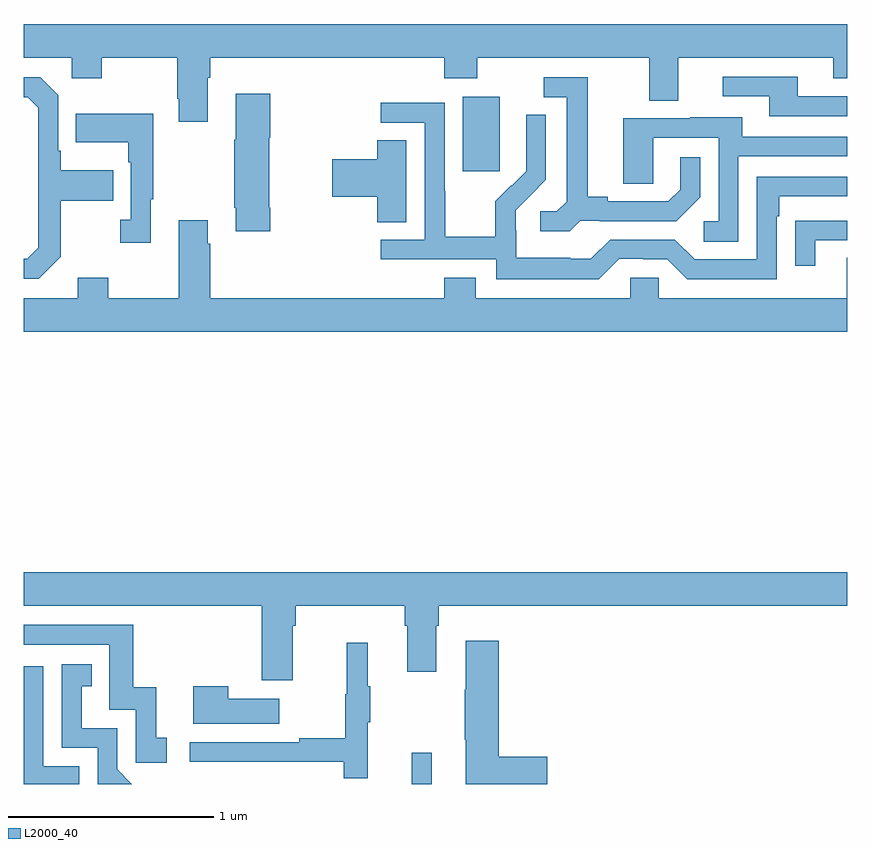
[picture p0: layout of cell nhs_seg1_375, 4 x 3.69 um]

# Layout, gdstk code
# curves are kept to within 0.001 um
import gdstk
lib = gdstk.Library(unit=1e-6, precision=1e-09)
def R(c, l, rs):  # rectangles x0, y0, x1, y1
    for r in rs: c.add(gdstk.rectangle(r[:2], r[2:], *l))
def P(c, l, *ps):  # polygons
    for p in ps: c.add(gdstk.Polygon(p, *l))
L2000_40 = (2000, 40)

nhs_seg1_375 = lib.new_cell('nhs_seg1_375')
R(nhs_seg1_375, L2000_40, [(132.885,552.199,132.982,552.352), (133.133,555.177,133.312,555.538)])
P(nhs_seg1_375, L2000_40, [(131.893,555.632),(131.906,555.632),(131.906,555.728),(133.043,555.728),(133.043,555.629),(133.203,555.629),(133.203,555.728),(134.039,555.728),(134.039,555.52),(134.179,555.52),(134.179,555.728),(134.933,555.728),(134.933,555.629),(135,555.629),(135,555.892),(131,555.892),(131,555.728),(131.232,555.728),(131.232,555.629),(131.379,555.629),(131.379,555.728),(131.746,555.728),(131.746,555.529),(131.753,555.529),(131.753,555.417),(131.893,555.417)],
  [(135,555.54),(134.761,555.54),(134.761,555.636),(134.397,555.636),(134.397,555.54),(134.621,555.54),(134.621,555.444),(135,555.444)],
  [(133.704,554.937),(133.798,554.937),(133.798,554.934),(134.17,554.934),(134.286,555.05),(134.286,555.244),(134.189,555.244),(134.189,555.087),(134.132,555.03),(133.837,555.03),(133.837,555.053),(133.741,555.053),(133.741,555.633),(133.527,555.633),(133.527,555.537),(133.637,555.537),(133.637,555.029),(133.59,554.982),(133.509,554.982),(133.509,554.885),(133.652,554.885)],
  [(131.179,554.761),(131.179,555.034),(131.435,555.034),(131.435,555.181),(131.179,555.181),(131.179,555.277),(131.166,555.277),(131.166,555.546),(131.079,555.633),(131,555.633),(131,555.537),(131.019,555.537),(131.07,555.486),(131.07,554.805),(131.016,554.751),(131,554.751),(131,554.655),(131.073,554.655)],
  [(132.197,554.998),(132.192,554.998),(132.192,555.34),(132.197,555.34),(132.197,555.553),(132.029,555.553),(132.029,555.329),(132.022,555.329),(132.022,554.998),(132.029,554.998),(132.029,554.886),(132.197,554.886)],
  [(133.893,554.751),(134.009,554.751),(134.009,554.748),(134.127,554.748),(134.223,554.652),(134.658,554.652),(134.658,554.957),(134.671,554.957),(134.671,555.054),(135,555.054),(135,555.15),(134.562,555.15),(134.562,554.748),(134.259,554.748),(134.163,554.844),(133.848,554.844),(133.755,554.751),(133.655,554.751),(133.655,554.755),(133.392,554.755),(133.392,554.889),(133.39,554.889),(133.39,554.986),(133.536,555.134),(133.536,555.452),(133.44,555.452),(133.44,555.298),(133.442,555.298),(133.442,555.176),(133.371,555.105),(133.368,555.108),(133.291,555.031),(133.291,554.857),(133.047,554.857),(133.047,555.08),(133.044,555.08),(133.044,555.51),(132.735,555.51),(132.735,555.411),(132.948,555.411),(132.948,554.844),(132.735,554.844),(132.735,554.748),(133.296,554.748),(133.296,554.651),(133.793,554.651)],
  [(131.617,555.041),(131.629,555.041),(131.629,555.457),(131.251,555.457),(131.251,555.317),(131.508,555.317),(131.508,555.221),(131.52,555.221),(131.52,554.942),(131.469,554.942),(131.469,554.829),(131.617,554.829)],
  [(134.472,555.249),(135,555.249),(135,555.345),(134.491,555.345),(134.491,555.439),(134.237,555.439),(134.237,555.435),(133.913,555.435),(133.913,555.115),(134.058,555.115),(134.058,555.339),(134.376,555.339),(134.376,554.934),(134.304,554.934),(134.304,554.833),(134.472,554.833)],
  [(132.859,555.326),(132.716,555.326),(132.716,555.236),(132.498,555.236),(132.498,555.053),(132.716,555.053),(132.716,554.929),(132.859,554.929)],
  [(135,554.755),(134.999,554.755),(134.999,554.56),(134.085,554.56),(134.085,554.658),(133.947,554.658),(133.947,554.56),(133.195,554.56),(133.195,554.659),(133.043,554.659),(133.043,554.56),(131.906,554.56),(131.906,554.825),(131.893,554.825),(131.893,554.938),(131.753,554.938),(131.753,554.56),(131.409,554.56),(131.409,554.659),(131.261,554.659),(131.261,554.56),(131,554.56),(131,554.396),(135,554.396)],
  [(134.845,554.841),(135,554.841),(135,554.937),(134.851,554.937),(134.851,554.936),(134.749,554.936),(134.749,554.718),(134.845,554.718)],
  [(132.307,552.968),(132.32,552.968),(132.32,553.064),(132.851,553.064),(132.851,552.968),(132.863,552.968),(132.863,552.744),(133.003,552.744),(133.003,552.968),(133.016,552.968),(133.016,553.064),(135,553.064),(135,553.228),(131,553.228),(131,553.064),(132.155,553.064),(132.155,552.702),(132.307,552.702)],
  [(131.695,552.423),(131.642,552.423),(131.642,552.67),(131.531,552.67),(131.531,552.972),(131,552.972),(131,552.876),(131.415,552.876),(131.415,552.561),(131.544,552.561),(131.544,552.303),(131.695,552.303)],
  [(133.543,552.332),(133.307,552.332),(133.307,552.895),(133.148,552.895),(133.148,552.656),(133.141,552.656),(133.141,552.415),(133.148,552.415),(133.148,552.199),(133.543,552.199)],
  [(132.671,552.499),(132.682,552.499),(132.682,552.673),(132.671,552.673),(132.671,552.886),(132.568,552.886),(132.568,552.636),(132.561,552.636),(132.561,552.422),(132.337,552.422),(132.337,552.402),(131.805,552.402),(131.805,552.306),(132.553,552.306),(132.553,552.228),(132.671,552.228)],
  [(131.454,552.27),(131.454,552.471),(131.281,552.471),(131.281,552.675),(131.33,552.675),(131.33,552.781),(131.184,552.781),(131.184,552.375),(131.358,552.375),(131.358,552.199),(131.525,552.199)],
  [(131.268,552.285),(131.094,552.285),(131.094,552.771),(131,552.771),(131,552.199),(131.268,552.199)],
  [(132.241,552.613),(131.993,552.613),(131.993,552.673),(131.822,552.673),(131.822,552.491),(132.241,552.491)])

lib.write_gds('nhs_seg1_375.gds')
